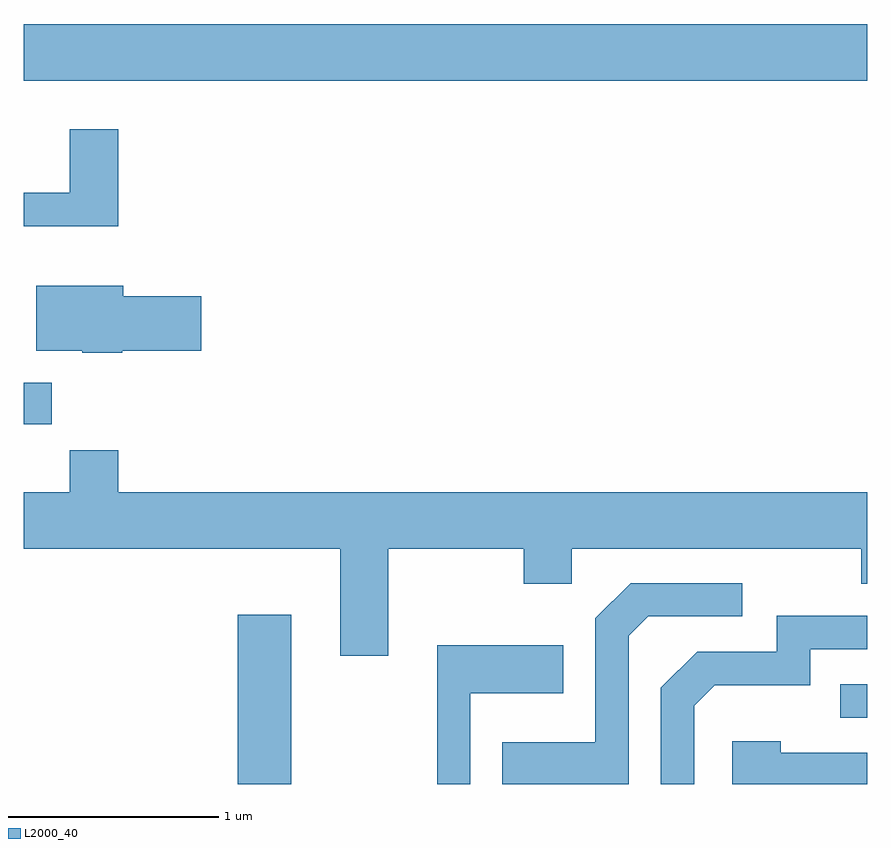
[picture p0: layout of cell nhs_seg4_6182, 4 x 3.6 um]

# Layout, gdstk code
import gdstk
lib = gdstk.Library(unit=1e-6, precision=1e-09)
def R(c, l, rs):  # rectangles x0, y0, x1, y1
    for r in rs: c.add(gdstk.rectangle(r[:2], r[2:], *l))
def P(c, l, *ps):  # polygons
    for p in ps: c.add(gdstk.Polygon(p, *l))
L2000_40 = (2000, 40)

nhs_seg4_6182 = lib.new_cell('nhs_seg4_6182')
R(nhs_seg4_6182, L2000_40, [(366.626,1377.982,366.879,1378.784), (369.483,1378.296,369.611,1378.454), (365.611,1379.686,365.744,1379.884), (365.611,1381.316,369.611,1381.584)])
P(nhs_seg4_6182, L2000_40, [(366.059,1381.084),(365.831,1381.084),(365.831,1380.784),(365.611,1380.784),(365.611,1380.626),(366.059,1380.626)],
  [(366.08,1380.036),(366.454,1380.036),(366.454,1380.294),(366.084,1380.294),(366.084,1380.344),(365.671,1380.344),(365.671,1380.036),(365.89,1380.036),(365.89,1380.026),(366.08,1380.026)],
  [(367.339,1379.096),(367.981,1379.096),(367.981,1378.931),(368.209,1378.931),(368.209,1379.096),(369.581,1379.096),(369.581,1378.931),(369.611,1378.931),(369.611,1379.364),(366.059,1379.364),(366.059,1379.564),(365.831,1379.564),(365.831,1379.364),(365.611,1379.364),(365.611,1379.096),(367.111,1379.096),(367.111,1378.591),(367.339,1378.591)],
  [(368.479,1378.684),(368.572,1378.776),(369.018,1378.776),(369.018,1378.934),(368.489,1378.934),(368.321,1378.767),(368.321,1378.179),(367.881,1378.179),(367.881,1377.982),(368.479,1377.982)],
  [(368.789,1378.354),(368.887,1378.451),(369.339,1378.451),(369.339,1378.621),(369.611,1378.621),(369.611,1378.779),(369.181,1378.779),(369.181,1378.609),(368.804,1378.609),(368.631,1378.437),(368.631,1377.982),(368.789,1377.982)],
  [(367.729,1378.411),(368.169,1378.411),(368.169,1378.639),(367.571,1378.639),(367.571,1377.982),(367.729,1377.982)],
  [(369.611,1378.129),(369.199,1378.129),(369.199,1378.184),(368.971,1378.184),(368.971,1377.982),(369.611,1377.982)])

lib.write_gds('nhs_seg4_6182.gds')
